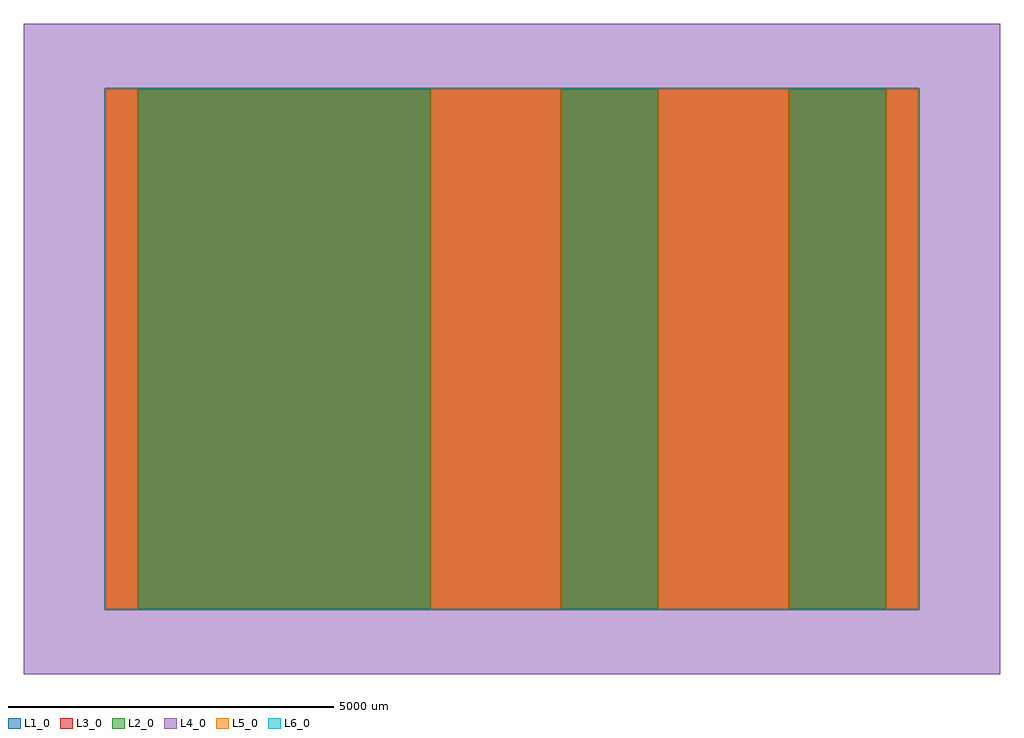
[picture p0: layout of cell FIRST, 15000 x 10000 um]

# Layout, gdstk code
import gdstk
lib = gdstk.Library(unit=1e-6, precision=1e-09)
def R(c, l, rs):  # rectangles x0, y0, x1, y1
    for r in rs: c.add(gdstk.rectangle(r[:2], r[2:], *l))
def P(c, l, *ps):  # polygons
    for p in ps: c.add(gdstk.Polygon(p, *l))
L1_0 = (1, 0)
L2_0 = (2, 0)
L3_0 = (3, 0)
L4_0 = (4, 0)
L5_0 = (5, 0)
L6_0 = (6, 0)

first = lib.new_cell('FIRST')
R(first, L1_0, [(-6250,-4000,6250,4000)])
R(first, L2_0, [(-5750,-4000,-1250,4000), (750,-4000,2250,4000), (4250,-4000,5750,4000)])
R(first, L3_0, [(-6240,-3990,6240,3990)])
P(first, L4_0, [(7500,5000),(-7500,5000),(-7500,-4010),(-6260,-4010),(-6260,4010),(6260,4010),(6260,-4010),(-6260,-4010),(-7500,-4010),(-7500,-5000),(7500,-5000)])
P(first, L5_0, [(6260,-4010),(6260,4010),(-6260,4010),(-6260,-4000),(-5750,-4000),(-5750,4000),(-1250,4000),(-1250,-4000),(750,-4000),(750,4000),(2250,4000),(2250,-4000),(4250,-4000),(4250,4000),(5750,4000),(5750,-4000),(4250,-4000),(2250,-4000),(750,-4000),(-1250,-4000),(-5750,-4000),(-6260,-4000),(-6260,-4010)])
P(first, L6_0, [(6260,-4010),(6260,4010),(-6260,4010),(-6260,-4000),(-6250,-4000),(-6250,4000),(6250,4000),(6250,-4000),(-6250,-4000),(-6260,-4000),(-6260,-4010)])

lib.write_gds('FIRST.gds')
